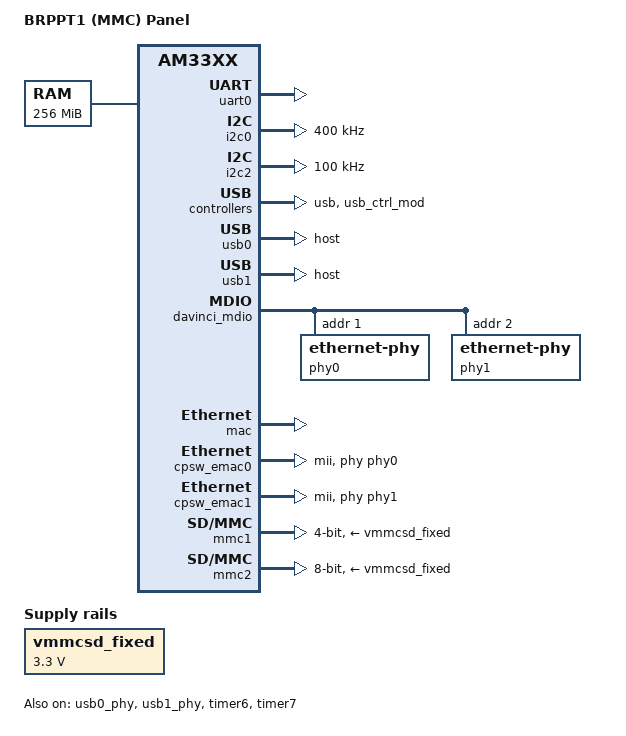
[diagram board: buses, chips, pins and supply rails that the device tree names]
// SPDX-License-Identifier: GPL-2.0+
/*
 * Copyright (C) 2018 B&R Industrial Automation GmbH
 * http://www.br-automation.com
 *
 */
/dts-v1/;

#include "am33xx.dtsi"

/ {
	model = "BRPPT1 (MMC) Panel";
	compatible = "ti,am33xx";


	aliases {
		gpmc = &gpmc;
		mmc = &mmc2;
	};

	chosen {
		bootargs = "console=ttyO0,115200 earlyprintk";
		stdout-path = &uart0;
	};

	memory {
		device_type = "memory";
		reg = <0x80000000 0x10000000>; /* 256 MB */
	};

	vmmcsd_fixed: fixedregulator@0 {
		compatible = "regulator-fixed";
		regulator-name = "vmmcsd_fixed";
		regulator-min-microvolt = <3300000>;
		regulator-max-microvolt = <3300000>;
	};
};

&uart0 {		/* console uart */
	status = "okay";
};

&i2c0 {
	status = "okay";
	clock-frequency = <400000>;
};

&i2c2 {
	status = "okay";
	clock-frequency = <100000>;
};

&edma {
	status = "okay";
};

&usb {
	status = "okay";
};

&usb_ctrl_mod {
	status = "okay";
};

&usb0_phy {
	status = "okay";
};

&usb1_phy {
	status = "okay";
};

&usb0 {
	status = "okay";
	dr_mode = "host";
};

&usb1 {
	status = "okay";
	dr_mode = "host";
};

&davinci_mdio {
	status = "okay";

	phy0: ethernet-phy@0 {
		reg = <1>;
	};

	phy1: ethernet-phy@1 {
		reg = <2>;
	};
};

&mac {
	status = "okay";
};

&cpsw_emac0 {
	phy-handle = <&phy0>;
	dual_emac_res_vlan = <1>;
	phy-mode = "mii";
};

&cpsw_emac1 {
	phy-handle = <&phy1>;
	dual_emac_res_vlan = <2>;
	phy-mode = "mii";
};

&mmc1 {
	vmmc-supply = <&vmmcsd_fixed>;
	bus-width = <0x4>;
	ti,non-removable;
	ti,needs-special-hs-handling;
	ti,vcc-aux-disable-is-sleep;
	status = "okay";
};

&mmc2 {
	vmmc-supply = <&vmmcsd_fixed>;
	bus-width = <0x8>;
	ti,non-removable;
	ti,needs-special-hs-handling;
	ti,vcc-aux-disable-is-sleep;
	status = "okay";
};

&gpio0 {
	ti,no-reset-on-init;
};

&gpio1 {
	ti,no-reset-on-init;
};

&gpio2 {
	ti,no-reset-on-init;
};

&gpio3 {
	ti,no-reset-on-init;
};

&timer6 {		/* used for cpsw end device */
	status = "okay";
	ti,no-reset-on-init;
	ti,no-idle-on-init;
};

&timer7 {		/* used for cpsw end device */
	status = "okay";
	ti,no-reset-on-init;
	ti,no-idle-on-init;
};
